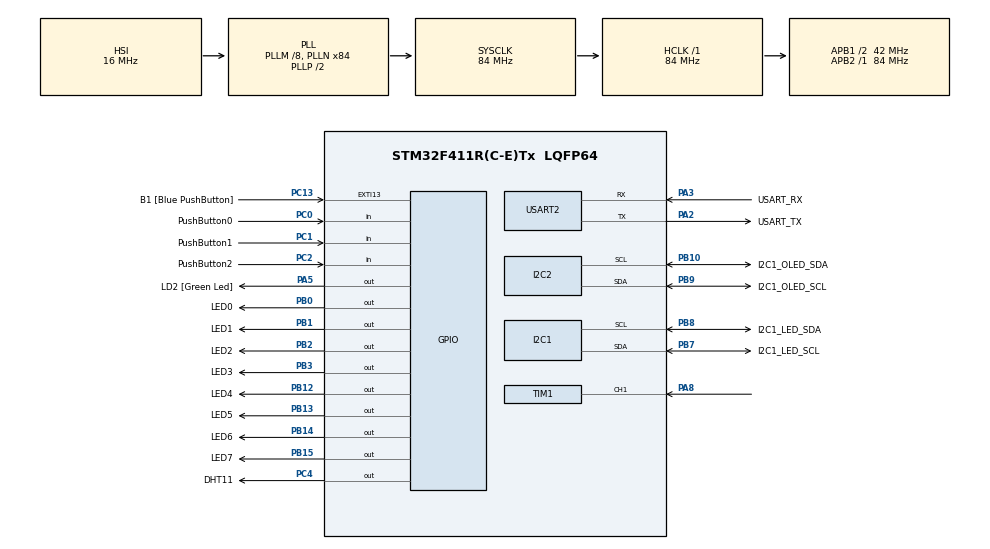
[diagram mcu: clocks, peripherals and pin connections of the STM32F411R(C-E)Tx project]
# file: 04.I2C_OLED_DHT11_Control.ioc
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I2C2.I2C_Mode=I2C_Fast
Mcu.Family=STM32F4
Mcu.Name=STM32F411R(C-E)Tx
Mcu.Package=LQFP64
NVIC.EXTI15_10_IRQn=true\:0\:0\:false\:false\:true\:true\:true
NVIC.I2C1_ER_IRQn=true\:0\:0\:false\:false\:true\:true\:true
NVIC.I2C1_EV_IRQn=true\:0\:0\:false\:false\:true\:true\:true
NVIC.I2C2_ER_IRQn=true\:0\:0\:false\:false\:true\:true\:true
NVIC.I2C2_EV_IRQn=true\:0\:0\:false\:false\:true\:true\:true
NVIC.PriorityGroup=NVIC_PRIORITYGROUP_0
NVIC.TIM1_BRK_TIM9_IRQn=true\:0\:0\:false\:false\:true\:true\:true
NVIC.TIM1_CC_IRQn=true\:0\:0\:false\:false\:true\:true\:true
NVIC.TIM1_TRG_COM_TIM11_IRQn=true\:0\:0\:false\:false\:true\:true\:true
NVIC.TIM1_UP_TIM10_IRQn=true\:0\:0\:false\:false\:true\:true\:true
PA13.GPIO_Label=TMS
PA13.Mode=Serial_Wire
PA13.Signal=SYS_JTMS-SWDIO
PA14.GPIO_Label=TCK
PA14.Mode=Serial_Wire
PA14.Signal=SYS_JTCK-SWCLK
PA2.GPIO_Label=USART_TX
PA2.Mode=Asynchronous
PA2.Signal=USART2_TX
PA3.GPIO_Label=USART_RX
PA3.Mode=Asynchronous
PA3.Signal=USART2_RX
PA5.GPIO_Label=LD2 [Green Led]
PA5.Signal=GPIO_Output
PA8.Signal=S_TIM1_CH1
PB0.GPIO_Label=LED0
PB0.Signal=GPIO_Output
PB1.GPIO_Label=LED1
PB1.Signal=GPIO_Output
PB10.GPIO_Label=I2C1_OLED_SDA
PB10.Mode=I2C
PB10.Signal=I2C2_SCL
PB12.GPIO_Label=LED4
PB12.Signal=GPIO_Output
PB13.GPIO_Label=LED5
PB13.Signal=GPIO_Output
PB14.GPIO_Label=LED6
PB14.Signal=GPIO_Output
PB15.GPIO_Label=LED7
PB15.Signal=GPIO_Output
PB2.GPIO_Label=LED2
PB2.Signal=GPIO_Output
PB3.GPIO_Label=LED3
PB3.Signal=GPIO_Output
PB7.GPIO_Label=I2C1_LED_SCL
PB7.Mode=I2C
PB7.Signal=I2C1_SDA
PB8.GPIO_Label=I2C1_LED_SDA
PB8.Mode=I2C
PB8.Signal=I2C1_SCL
PB9.GPIO_Label=I2C1_OLED_SCL
PB9.Mode=I2C
PB9.Signal=I2C2_SDA
PC0.GPIO_Label=PushButton0
PC0.Signal=GPIO_Input
PC1.GPIO_Label=PushButton1
PC1.Signal=GPIO_Input
PC13-ANTI_TAMP.GPIO_Label=B1 [Blue PushButton]
PC13-ANTI_TAMP.GPIO_ModeDefaultEXTI=GPIO_MODE_IT_FALLING
PC13-ANTI_TAMP.Signal=GPXTI13
PC14-OSC32_IN.Mode=LSE-External-Oscillator
PC14-OSC32_IN.Signal=RCC_OSC32_IN
PC15-OSC32_OUT.Mode=LSE-External-Oscillator
PC15-OSC32_OUT.Signal=RCC_OSC32_OUT
PC2.GPIO_Label=PushButton2
PC2.Signal=GPIO_Input
PC4.GPIO_Label=DHT11
PC4.Signal=GPIO_Output
PH0\ -\ OSC_IN.Mode=HSE-External-Oscillator
PH0\ -\ OSC_IN.Signal=RCC_OSC_IN
PH1\ -\ OSC_OUT.Mode=HSE-External-Oscillator
PH1\ -\ OSC_OUT.Signal=RCC_OSC_OUT
ProjectManager.HeapSize=0x200
ProjectManager.StackSize=0x400
ProjectManager.TargetToolchain=STM32CubeIDE
RCC.48MHZClocksFreq_Value=42000000
RCC.AHBFreq_Value=84000000
RCC.APB1CLKDivider=RCC_HCLK_DIV2
RCC.APB1Freq_Value=42000000
RCC.APB1TimFreq_Value=84000000
RCC.APB2Freq_Value=84000000
RCC.APB2TimFreq_Value=84000000
RCC.CortexFreq_Value=84000000
RCC.FLatency-AdvancedSettings=FLASH_LATENCY_2
RCC.HCLKFreq_Value=84000000
RCC.HSE_VALUE=8000000
RCC.HSI_VALUE=16000000
RCC.PLLM=8
RCC.PLLN=84
RCC.SYSCLKFreq_VALUE=84000000
RCC.SYSCLKSource=RCC_SYSCLKSOURCE_PLLCLK
RCC.VCOOutputFreq_Value=168000000
SH.S_TIM1_CH1.0=TIM1_CH1,Input_Capture1_from_TI1
TIM1.Channel-Input_Capture1_from_TI1=TIM_CHANNEL_1
TIM1.Prescaler=83
USART2.VirtualMode=VM_ASYNC
VP_TIM1_VS_ClockSourceINT.Mode=Internal
board=NUCLEO-F411RE

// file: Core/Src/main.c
/* USER CODE BEGIN Header */
/**
  ******************************************************************************
  * @file           : main.c
  * @brief          : Main program body
  ******************************************************************************
  * @attention
  *
  * <h2><center>&copy; Copyright (c) 2021 STMicroelectronics.
  * All rights reserved.</center></h2>
  *
  * This software component is licensed by ST under BSD 3-Clause license,
  * the "License"; You may not use this file except in compliance with the
  * License. You may obtain a copy of the License at:
  *                        opensource.org/licenses/BSD-3-Clause
  *
  ******************************************************************************
  */
/* USER CODE END Header */
#include "main.h"

/* USER CODE BEGIN Includes */
#include "test.h"
/* USER CODE END Includes */

I2C_HandleTypeDef hi2c1;
I2C_HandleTypeDef hi2c2;

TIM_HandleTypeDef htim1;

UART_HandleTypeDef huart2;

/* USER CODE BEGIN PV */
volatile uint32_t gTimerCnt;
/* USER CODE END PV */

void SystemClock_Config(void);
static void MX_GPIO_Init(void);
static void MX_USART2_UART_Init(void);
static void MX_I2C1_Init(void);
static void MX_TIM1_Init(void);
static void MX_I2C2_Init(void);

/* USER CODE BEGIN 0 */

//----------  printf start ----------
#ifdef __GNUC__
/* With GCC, small printf (option LD Linker->Libraries->Small printf
   set to 'Yes') calls __io_putchar() */
#define PUTCHAR_PROTOTYPE int __io_putchar(int ch)
#else
#define PUTCHAR_PROTOTYPE int fputc(int ch, FILE *f)
#endif /* __GNUC__ */
/**
  * @brief  Retargets the C library printf function to the USART.
  * @param  None
  * @retval None
  */
PUTCHAR_PROTOTYPE   // Add for printf
{
  /* Place your implementation of fputc here */
  /* e.g. write a character to the USART3 and Loop until the end of transmission */
  HAL_UART_Transmit(&huart2, (uint8_t *)&ch, 1, 0xFFFF);

  return ch;
}
//----------  printf end ----------

/* TIMER3 INT */
void HAL_TIM_PeriodElapsedCallback(TIM_HandleTypeDef *htim)
{
	if(htim->Instance == TIM1)
		gTimerCnt++;
}

void delay_us(unsigned long us)
{
	__HAL_TIM_SET_COUNTER(&htim1,0);
	while(__HAL_TIM_GET_COUNTER(&htim1) < us)
		;
}
/* USER CODE END 0 */

int main(void)
{

  /* MCU Configuration--------------------------------------------------------*/

  /* Reset of all peripherals, Initializes the Flash interface and the Systick. */
  HAL_Init();

  /* Configure the system clock */
  SystemClock_Config();

  /* Initialize all configured peripherals */
  MX_GPIO_Init();
  MX_USART2_UART_Init();
  MX_I2C1_Init();
  MX_TIM1_Init();
  MX_I2C2_Init();
  /* USER CODE BEGIN 2 */
  I2C_LCD1602_init();
  DHT11_init();
  ssd1306_Init();
  // TIMER3 INTTRUPT CONTROL
  HAL_TIM_IC_Start_IT(&htim1, TIM_CHANNEL_1);  //for us_delay:DHT11/ultrasonic
  HAL_TIM_Base_Start_IT(&htim1);
  /* USER CODE END 2 */

  /* Infinite loop */
  while (1)
  {

    /* USER CODE BEGIN 3 */
	 test_processing();
  }
  /* USER CODE END 3 */
}

void SystemClock_Config(void)
{
  RCC_OscInitTypeDef RCC_OscInitStruct = {0};
  RCC_ClkInitTypeDef RCC_ClkInitStruct = {0};

  /** Configure the main internal regulator output voltage
  */
  __HAL_RCC_PWR_CLK_ENABLE();
  __HAL_PWR_VOLTAGESCALING_CONFIG(PWR_REGULATOR_VOLTAGE_SCALE1);
  /** Initializes the RCC Oscillators according to the specified parameters
  * in the RCC_OscInitTypeDef structure.
  */
  RCC_OscInitStruct.OscillatorType = RCC_OSCILLATORTYPE_HSI;
  RCC_OscInitStruct.HSIState = RCC_HSI_ON;
  RCC_OscInitStruct.HSICalibrationValue = RCC_HSICALIBRATION_DEFAULT;
  RCC_OscInitStruct.PLL.PLLState = RCC_PLL_ON;
  RCC_OscInitStruct.PLL.PLLSource = RCC_PLLSOURCE_HSI;
  RCC_OscInitStruct.PLL.PLLM = 8;
  RCC_OscInitStruct.PLL.PLLN = 84;
  RCC_OscInitStruct.PLL.PLLP = RCC_PLLP_DIV2;
  RCC_OscInitStruct.PLL.PLLQ = 4;
  if (HAL_RCC_OscConfig(&RCC_OscInitStruct) != HAL_OK)
  {
    Error_Handler();
  }
  /** Initializes the CPU, AHB and APB buses clocks
  */
  RCC_ClkInitStruct.ClockType = RCC_CLOCKTYPE_HCLK|RCC_CLOCKTYPE_SYSCLK
                              |RCC_CLOCKTYPE_PCLK1|RCC_CLOCKTYPE_PCLK2;
  RCC_ClkInitStruct.SYSCLKSource = RCC_SYSCLKSOURCE_PLLCLK;
  RCC_ClkInitStruct.AHBCLKDivider = RCC_SYSCLK_DIV1;
  RCC_ClkInitStruct.APB1CLKDivider = RCC_HCLK_DIV2;
  RCC_ClkInitStruct.APB2CLKDivider = RCC_HCLK_DIV1;

  if (HAL_RCC_ClockConfig(&RCC_ClkInitStruct, FLASH_LATENCY_2) != HAL_OK)
  {
    Error_Handler();
  }
}

static void MX_I2C1_Init(void)
{

  hi2c1.Instance = I2C1;
  hi2c1.Init.ClockSpeed = 100000;
  hi2c1.Init.DutyCycle = I2C_DUTYCYCLE_2;
  hi2c1.Init.OwnAddress1 = 0;
  hi2c1.Init.AddressingMode = I2C_ADDRESSINGMODE_7BIT;
  hi2c1.Init.DualAddressMode = I2C_DUALADDRESS_DISABLE;
  hi2c1.Init.OwnAddress2 = 0;
  hi2c1.Init.GeneralCallMode = I2C_GENERALCALL_DISABLE;
  hi2c1.Init.NoStretchMode = I2C_NOSTRETCH_DISABLE;
  if (HAL_I2C_Init(&hi2c1) != HAL_OK)
  {
    Error_Handler();
  }

}

static void MX_I2C2_Init(void)
{

  hi2c2.Instance = I2C2;
  hi2c2.Init.ClockSpeed = 400000;
  hi2c2.Init.DutyCycle = I2C_DUTYCYCLE_2;
  hi2c2.Init.OwnAddress1 = 0;
  hi2c2.Init.AddressingMode = I2C_ADDRESSINGMODE_7BIT;
  hi2c2.Init.DualAddressMode = I2C_DUALADDRESS_DISABLE;
  hi2c2.Init.OwnAddress2 = 0;
  hi2c2.Init.GeneralCallMode = I2C_GENERALCALL_DISABLE;
  hi2c2.Init.NoStretchMode = I2C_NOSTRETCH_DISABLE;
  if (HAL_I2C_Init(&hi2c2) != HAL_OK)
  {
    Error_Handler();
  }

}

static void MX_TIM1_Init(void)
{

  TIM_ClockConfigTypeDef sClockSourceConfig = {0};
  TIM_MasterConfigTypeDef sMasterConfig = {0};
  TIM_IC_InitTypeDef sConfigIC = {0};

  htim1.Instance = TIM1;
  htim1.Init.Prescaler = 83;
  htim1.Init.CounterMode = TIM_COUNTERMODE_UP;
  htim1.Init.Period = 65535;
  htim1.Init.ClockDivision = TIM_CLOCKDIVISION_DIV1;
  htim1.Init.RepetitionCounter = 0;
  htim1.Init.AutoReloadPreload = TIM_AUTORELOAD_PRELOAD_DISABLE;
  if (HAL_TIM_Base_Init(&htim1) != HAL_OK)
  {
    Error_Handler();
  }
  sClockSourceConfig.ClockSource = TIM_CLOCKSOURCE_INTERNAL;
  if (HAL_TIM_ConfigClockSource(&htim1, &sClockSourceConfig) != HAL_OK)
  {
    Error_Handler();
  }
  if (HAL_TIM_IC_Init(&htim1) != HAL_OK)
  {
    Error_Handler();
  }
  sMasterConfig.MasterOutputTrigger = TIM_TRGO_RESET;
  sMasterConfig.MasterSlaveMode = TIM_MASTERSLAVEMODE_DISABLE;
  if (HAL_TIMEx_MasterConfigSynchronization(&htim1, &sMasterConfig) != HAL_OK)
  {
    Error_Handler();
  }
  sConfigIC.ICPolarity = TIM_INPUTCHANNELPOLARITY_RISING;
  sConfigIC.ICSelection = TIM_ICSELECTION_DIRECTTI;
  sConfigIC.ICPrescaler = TIM_ICPSC_DIV1;
  sConfigIC.ICFilter = 0;
  if (HAL_TIM_IC_ConfigChannel(&htim1, &sConfigIC, TIM_CHANNEL_1) != HAL_OK)
  {
    Error_Handler();
  }

}

static void MX_USART2_UART_Init(void)
{

  huart2.Instance = USART2;
  huart2.Init.BaudRate = 115200;
  huart2.Init.WordLength = UART_WORDLENGTH_8B;
  huart2.Init.StopBits = UART_STOPBITS_1;
  huart2.Init.Parity = UART_PARITY_NONE;
  huart2.Init.Mode = UART_MODE_TX_RX;
  huart2.Init.HwFlowCtl = UART_HWCONTROL_NONE;
  huart2.Init.OverSampling = UART_OVERSAMPLING_16;
  if (HAL_UART_Init(&huart2) != HAL_OK)
  {
    Error_Handler();
  }

}

static void MX_GPIO_Init(void)
{
  GPIO_InitTypeDef GPIO_InitStruct = {0};

  /* GPIO Ports Clock Enable */
  __HAL_RCC_GPIOC_CLK_ENABLE();
  __HAL_RCC_GPIOH_CLK_ENABLE();
  __HAL_RCC_GPIOA_CLK_ENABLE();
  __HAL_RCC_GPIOB_CLK_ENABLE();

  /*Configure GPIO pin Output Level */
  HAL_GPIO_WritePin(LD2_GPIO_Port, LD2_Pin, GPIO_PIN_RESET);

  /*Configure GPIO pin Output Level */
  HAL_GPIO_WritePin(DHT11_GPIO_Port, DHT11_Pin, GPIO_PIN_RESET);

  /*Configure GPIO pin Output Level */
  HAL_GPIO_WritePin(GPIOB, LED0_Pin|LED1_Pin|LED2_Pin|LED4_Pin
                          |LED5_Pin|LED6_Pin|LED7_Pin|LED3_Pin, GPIO_PIN_RESET);

  /*Configure GPIO pin : B1_Pin */
  GPIO_InitStruct.Pin = B1_Pin;
  GPIO_InitStruct.Mode = GPIO_MODE_IT_FALLING;
  GPIO_InitStruct.Pull = GPIO_NOPULL;
  HAL_GPIO_Init(B1_GPIO_Port, &GPIO_InitStruct);

  /*Configure GPIO pins : PushButton0_Pin PushButton1_Pin PushButton2_Pin */
  GPIO_InitStruct.Pin = PushButton0_Pin|PushButton1_Pin|PushButton2_Pin;
  GPIO_InitStruct.Mode = GPIO_MODE_INPUT;
  GPIO_InitStruct.Pull = GPIO_NOPULL;
  HAL_GPIO_Init(GPIOC, &GPIO_InitStruct);

  /*Configure GPIO pin : LD2_Pin */
  GPIO_InitStruct.Pin = LD2_Pin;
  GPIO_InitStruct.Mode = GPIO_MODE_OUTPUT_PP;
  GPIO_InitStruct.Pull = GPIO_NOPULL;
  GPIO_InitStruct.Speed = GPIO_SPEED_FREQ_LOW;
  HAL_GPIO_Init(LD2_GPIO_Port, &GPIO_InitStruct);

  /*Configure GPIO pin : DHT11_Pin */
  GPIO_InitStruct.Pin = DHT11_Pin;
  GPIO_InitStruct.Mode = GPIO_MODE_OUTPUT_PP;
  GPIO_InitStruct.Pull = GPIO_NOPULL;
  GPIO_InitStruct.Speed = GPIO_SPEED_FREQ_LOW;
  HAL_GPIO_Init(DHT11_GPIO_Port, &GPIO_InitStruct);

  /*Configure GPIO pins : LED0_Pin LED1_Pin LED2_Pin LED4_Pin
                           LED5_Pin LED6_Pin LED7_Pin LED3_Pin */
  GPIO_InitStruct.Pin = LED0_Pin|LED1_Pin|LED2_Pin|LED4_Pin
                          |LED5_Pin|LED6_Pin|LED7_Pin|LED3_Pin;
  GPIO_InitStruct.Mode = GPIO_MODE_OUTPUT_PP;
  GPIO_InitStruct.Pull = GPIO_NOPULL;
  GPIO_InitStruct.Speed = GPIO_SPEED_FREQ_LOW;
  HAL_GPIO_Init(GPIOB, &GPIO_InitStruct);

  /* EXTI interrupt init*/
  HAL_NVIC_SetPriority(EXTI15_10_IRQn, 0, 0);
  HAL_NVIC_EnableIRQ(EXTI15_10_IRQn);

}

/* USER CODE BEGIN 4 */
void HAL_GPIO_EXTI_Callback(uint16_t GPIO_Pin)
{
	switch(GPIO_Pin)
	{
	case B1_Pin:
		HAL_GPIO_TogglePin(LD2_GPIO_Port, LD2_Pin);
		break;
	default:
		;
	}
}

/* USER CODE END 4 */

void Error_Handler(void)
{
  __disable_irq();
  while (1)
  {
  }
}

/************************ (C) COPYRIGHT STMicroelectronics *****END OF FILE****/
